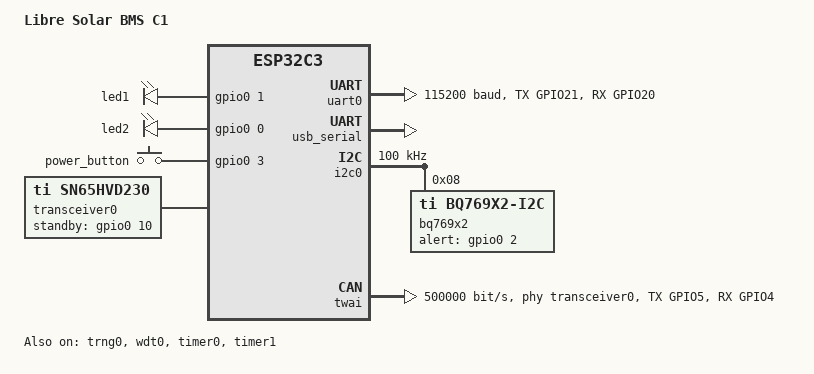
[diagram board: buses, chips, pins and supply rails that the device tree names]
/*
 * Copyright (c) The Libre Solar Project Contributors
 *
 * SPDX-License-Identifier: Apache-2.0
 */

/dts-v1/;

#include <espressif/esp32c3.dtsi>

#include <dt-bindings/pinctrl/esp32c3-pinctrl.h>
#include <zephyr/dt-bindings/pinctrl/esp-pinctrl-common.h>
#include <zephyr/dt-bindings/pinctrl/esp32c3-gpio-sigmap.h>

/ {
	model = "Libre Solar BMS C1";
	compatible = "espressif,esp32c3";

	pcb {
		compatible = "bms";

		type = "BMS C1";
		version-str = "v0.3";
		version-num = <3>;

		num-cells-max = <16>;
		num-thermistors-max = <2>;

		current-max = <100>;
		shunt-res = <300>;
	};

	chosen {
		zephyr,sram = &sram0;
		zephyr,console = &usb_serial;
		zephyr,shell-uart = &usb_serial;
		zephyr,flash = &flash0;
		zephyr,code-partition = &slot0_partition;
		thingset,can = &twai;
		thingset,serial = &uart0;
	};

	leds {
		compatible = "gpio-leds";
		led1: led_0 {
			gpios = <&gpio0 1 GPIO_ACTIVE_HIGH>;
		};
		led2: led_1 {
			gpios = <&gpio0 0 GPIO_ACTIVE_HIGH>;
		};
	};

	power-states {
		light_sleep: light_sleep {
			compatible = "zephyr,power-state";
			power-state-name = "standby";
			min-residency-us = <200>;
			exit-latency-us = <60>;
		};

		deep_sleep: deep_sleep {
			compatible = "zephyr,power-state";
			power-state-name = "soft-off";
			min-residency-us = <660>;
			exit-latency-us = <105>;
		};
	};

	gpio_keys {
		compatible = "gpio-keys";
		power_button: button {
			gpios = <&gpio0 3 GPIO_ACTIVE_HIGH>;
		};
	};

	transceiver0: can-phy0 {
		compatible = "ti,sn65hvd230", "can-transceiver-gpio";
		max-bitrate = <1000000>;
		standby-gpios = <&gpio0 10 GPIO_ACTIVE_HIGH>;
		#phy-cells = <0>;
	};

	aliases {
		led-red = &led1;
		led-green = &led2;
		sw-pwr = &power_button;
	};
};

&cpu0 {
	clock-frequency = <ESP32_CLK_CPU_160M>;
	cpu-power-states = <&deep_sleep &light_sleep>;
};

&uart0 {
	status = "okay";
	current-speed = <115200>;
	pinctrl-0 = <&uart0_default>;
	pinctrl-names = "default";
};

&usb_serial {
	status = "okay";
};

&i2c0 {
	status = "okay";
	clock-frequency = <I2C_BITRATE_STANDARD>;
	pinctrl-0 = <&i2c0_default>;
	pinctrl-names = "default";

	bq769x2@8 {
		compatible = "ti,bq769x2-i2c";
		reg = <0x08>;	/* 0x10 >> 1 */
		alert-gpios = <&gpio0 2 GPIO_ACTIVE_HIGH>;
	};
};

&trng0 {
	status = "okay";
};

&gpio0 {
	status = "okay";
};

&wdt0 {
	status = "okay";
};

&timer0 {
	status = "okay";
};

&timer1 {
	status = "okay";
};

&twai {
	status = "okay";
	pinctrl-0 = <&twai_default>;
	pinctrl-names = "default";
	bus-speed = <500000>;
	phys = <&transceiver0>;
};

&flash0 {
	status = "okay";
	partitions {
		compatible = "fixed-partitions";
		#address-cells = <1>;
		#size-cells = <1>;

		/* Reserve 60kB for the bootloader */
		boot_partition: partition@0 {
			label = "mcuboot";
			reg = <0x00000000 0x0000F000>;
			read-only;
		};

		/* Reserve 1024kB for the application in slot 0 */
		slot0_partition: partition@10000 {
			label = "image-0";
			reg = <0x00010000 0x00100000>;
		};

		/* Reserve 1024kB for the application in slot 1 */
		slot1_partition: partition@110000 {
			label = "image-1";
			reg = <0x00110000 0x00100000>;
		};

		/* Reserve 256kB for the scratch partition */
		scratch_partition: partition@210000 {
			   label = "image-scratch";
			   reg = <0x00210000 0x00040000>;
		};

		storage_partition: partition@250000 {
			label = "storage";
			reg = <0x00250000 0x00006000>;
		};
	};
};

&pinctrl {
	uart0_default: uart0_default {
		group1 {
			pinmux = <UART0_TX_GPIO21>;
		};
		group2 {
			pinmux = <UART0_RX_GPIO20>;
			bias-pull-up;
		};
	};

	twai_default: twai_default {
		group1 {
			pinmux = <TWAI_TX_GPIO5>,
				 <TWAI_RX_GPIO4>;
		};
	};

	/* see version-specific overlays for I2C */
};
